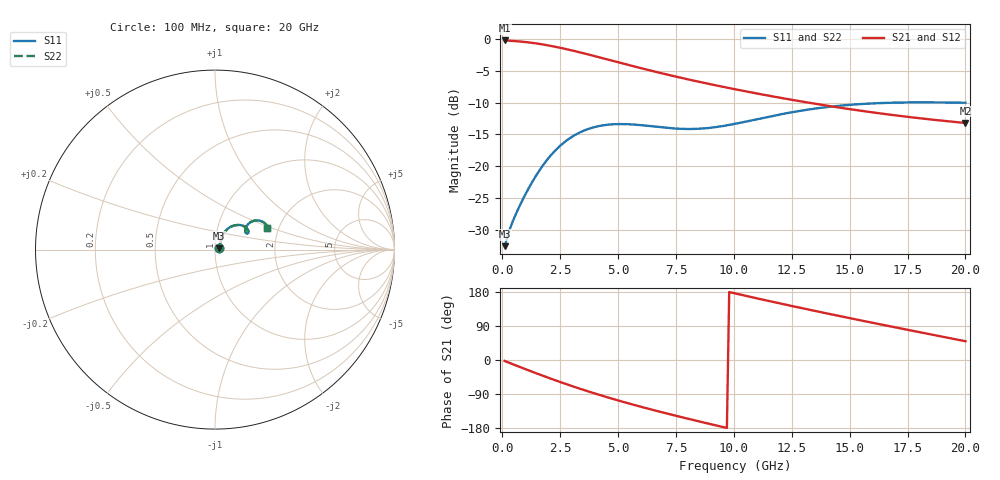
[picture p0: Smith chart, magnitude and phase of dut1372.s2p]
! Touchstone file exported from HFSS 2024.1.0
!  File:  C:/UserFiles/LocalFiles/RDL_TSV_Batchsim/temp_RDL_TSV_1372_1780399307.aedt
!  Generated:  07:42:30 PM Jun  2, 2026
!  Design:  RDL_TSV
!  Project:  temp_RDL_TSV_1372_1780399307
!  Setup:  Setup1
!  Solution:  Sweep
! Variables:
!  dtsv = 5.51um
!  hbump = 3um
!  htsv = 86.76um
!  ldown = 697.44um
!  lrdl = 647.45um
!  p = 40
!  p1 = 54.4um
!  rhole = 10um
!  subl = 4682.12um
!  t = 450um
!  tdown = 3.45um
!  trdl = 2.73um
!  viad = 10um
!  wdown = 27.32um
!  wrdl = 27.51um
!  xbump = 18um
# GHz S MA R 50.000000
! Terminal data exported
! Port[1] = TM1_1_T1
! Port[2] = TM1_4_T1
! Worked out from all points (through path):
!   200 points, 100 MHz to 20 GHz, reference 50 ohm
!   highest |S21| = -0.20 dB at 100 MHz (marker M1); lowest = -13.2 dB at 20 GHz (marker M2)
!   group delay of S21, straight-line fit = 41.2 ps
!   lowest |S11| = -32.6 dB at 100 MHz (marker M3), VSWR 1.05, Z = 52.3 + j0.696 ohm
!   |S11| at or under -10 dB: start of sweep to 16.89 GHz; 19.75 GHz to end of sweep
!   |S22| runs from -32.6 to -10.0 dB; largest |S21 - S12| = 1.1e-14
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0.1  0.02343 16.5  0.9774 -2.5  0.9774 -2.5  0.02344 16.5
! Gamma 0 0 0 0
! Port Impedance 50 0 50 0
0.4  0.03481 39.9  0.9705 -9.9  0.9705 -9.9  0.03482 39.9
0.7  0.04657 50.6  0.9615 -17.1  0.9615 -17.1  0.04658 50.5
1.3  0.07551 60.8  0.9354 -31.2  0.9354 -31.2  0.07545 60.7
1.8  0.1042 61.7  0.9058 -42.6  0.9058 -42.6  0.104 61.6
2.2  0.1278 59.7  0.8781 -51.5  0.8781 -51.5  0.1275 59.5
2.6  0.1502 56.2  0.848 -60.2  0.848 -60.2  0.1497 56.0
3  0.17 52.0  0.8163 -68.6  0.8163 -68.6  0.1693 51.9
3.5  0.1898 46.5  0.7756 -78.7  0.7756 -78.7  0.1889 46.4
4.3  0.209 38.2  0.7113 -94.1  0.7113 -94.1  0.2079 38.1
5.1  0.2146 31.7  0.6512 -108.4  0.6512 -108.4  0.2134 31.6
5.9  0.2111 27.6  0.597 -122.0  0.597 -122.0  0.2098 27.6
6.8  0.203 26.1  0.5436 -136.4  0.5436 -136.4  0.2016 26.1
7.5  0.1978 27.1  0.5071 -147.2  0.5071 -147.2  0.1965 27.2
8.3  0.1965 29.9  0.4702 -159.2  0.4702 -159.2  0.1953 30.0
10.1  0.2164 36.3  0.4018 175.1  0.4018 175.1  0.2154 36.5
11.7  0.2492 37.6  0.3536 153.2  0.3536 153.2  0.2484 37.7
13.4  0.2823 35.1  0.3124 130.8  0.3124 130.8  0.2815 35.2
15  0.3039 31.3  0.2813 110.5  0.2813 110.5  0.3031 31.4
16.7  0.3156 27.2  0.255 89.5  0.255 89.5  0.3146 27.3
18.4  0.318 24.1  0.2343 68.8  0.2343 68.8  0.317 24.2
20  0.3157 22.3  0.2189 49.5  0.2189 49.5  0.3147 22.5
